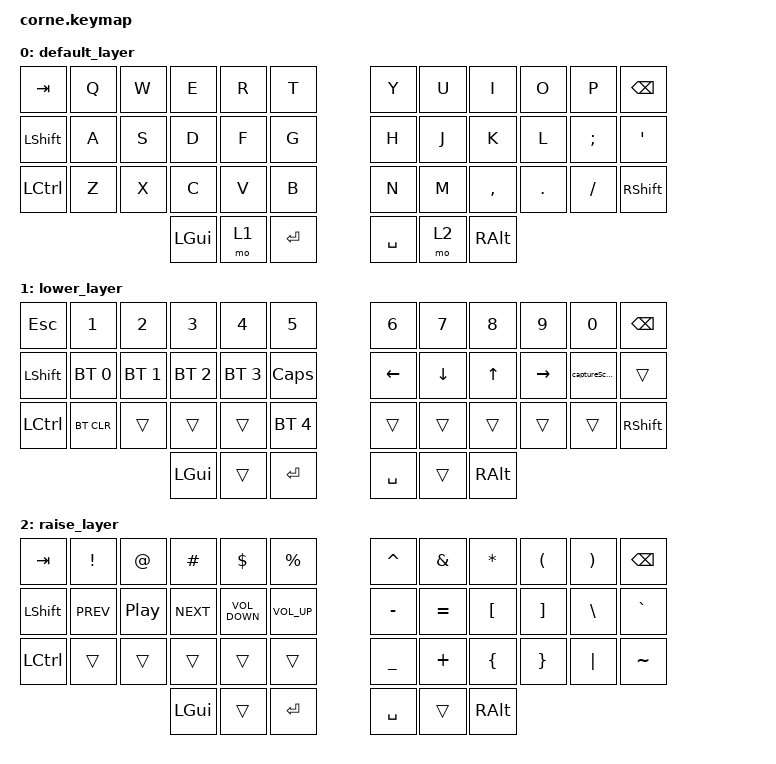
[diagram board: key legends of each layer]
/*
 * Copyright (c) 2020 The ZMK Contributors
 *
 * SPDX-License-Identifier: MIT
 */

#include <behaviors.dtsi>
#include <dt-bindings/zmk/bt.h>
#include <dt-bindings/zmk/keys.h>

/ {
    macros {
        captureScreenMacOs: captureScreenMacOs {
            compatible = "zmk,behavior-macro";
            #binding-cells = <0>;
            bindings =
                <&macro_press>,
                <&kp LEFT_SHIFT>,
                <&macro_press>,
                <&kp LEFT_COMMAND>,
                <&macro_tap>,
                <&kp NUMBER_5>,
                <&macro_release>,
                <&kp LEFT_SHIFT>,
                <&macro_release>,
                <&kp LEFT_COMMAND>;

            label = "CAPTURESCREENMACOS";
        };
    };

    keymap {
        compatible = "zmk,keymap";

        default_layer {
            // -----------------------------------------------------------------------------------------
            // |  TAB |  Q  |  W  |  E  |  R  |  T  |   |  Y  |  U   |  I  |  O  |  P  | BKSP |
            // | CTRL |  A  |  S  |  D  |  F  |  G  |   |  H  |  J   |  K  |  L  |  ;  |  '   |
            // | SHFT |  Z  |  X  |  C  |  V  |  B  |   |  N  |  M   |  ,  |  .  |  /  | ESC  |
            //                    | GUI | LWR | SPC |   | ENT | RSE  | ALT |

            bindings = <
&kp TAB           &kp Q  &kp W  &kp E     &kp R  &kp T        &kp Y      &kp U  &kp I      &kp O    &kp P     &kp BSPC
&kp LEFT_SHIFT    &kp A  &kp S  &kp D     &kp F  &kp G        &kp H      &kp J  &kp K      &kp L    &kp SEMI  &kp SQT
&kp LEFT_CONTROL  &kp Z  &kp X  &kp C     &kp V  &kp B        &kp N      &kp M  &kp COMMA  &kp DOT  &kp FSLH  &kp RIGHT_SHIFT
                                &kp LGUI  &mo 1  &kp ENTER    &kp SPACE  &mo 2  &kp RALT
            >;
        };

        lower_layer {
            // -----------------------------------------------------------------------------------------
            // |  TAB |  1  |  2  |  3  |  4  |  5  |   |  6  |  7  |  8  |  9  |  0  | BKSP |
            // | BTCLR| BT1 | BT2 | BT3 | BT4 | BT5 |   | LFT | DWN |  UP | RGT |     |      |
            // | SHFT |     |     |     |     |     |   |     |     |     |     |     |      |
            //                    | GUI |     | SPC |   | ENT |     | ALT |

            bindings = <
&kp ESC         &kp N1        &kp N2        &kp N3        &kp N4        &kp N5          &kp N6     &kp N7    &kp N8    &kp N9     &kp N0               &kp BSPC
&kp LEFT_SHIFT  &bt BT_SEL 0  &bt BT_SEL 1  &bt BT_SEL 2  &bt BT_SEL 3  &kp CAPS        &kp LEFT   &kp DOWN  &kp UP    &kp RIGHT  &captureScreenMacOs  &trans
&kp LCTRL       &bt BT_CLR    &trans        &trans        &trans        &bt BT_SEL 4    &trans     &trans    &trans    &trans     &trans               &kp RIGHT_SHIFT
                                            &kp LGUI      &trans        &kp ENTER       &kp SPACE  &trans    &kp RALT
            >;
        };

        raise_layer {
            // -----------------------------------------------------------------------------------------
            // |  TAB |  !  |  @  |  #  |  $  |  %  |   |  ^  |  &  |  *  |  (  |  )  | BKSP |
            // | CTRL |     |     |     |     |     |   |  -  |  =  |  [  |  ]  |  \  |  `   |
            // | SHFT |     |     |     |     |     |   |  _  |  +  |  {  |  }  | "|" |  ~   |
            //                    | GUI |     | SPC |   | ENT |     | ALT |

            bindings = <
&kp TAB           &kp EXCL    &kp AT            &kp HASH    &kp DLLR           &kp PRCNT          &kp CARET  &kp AMPS   &kp ASTRK  &kp LPAR  &kp RPAR  &kp BSPC
&kp LEFT_SHIFT    &kp C_PREV  &kp C_PLAY_PAUSE  &kp C_NEXT  &kp C_VOLUME_DOWN  &kp C_VOLUME_UP    &kp MINUS  &kp EQUAL  &kp LBKT   &kp RBKT  &kp BSLH  &kp GRAVE
&kp LEFT_CONTROL  &trans      &trans            &trans      &trans             &trans             &kp UNDER  &kp PLUS   &kp LBRC   &kp RBRC  &kp PIPE  &kp TILDE
                                                &kp LGUI    &trans             &kp ENTER          &kp SPACE  &trans     &kp RALT
            >;
        };
    };
};
